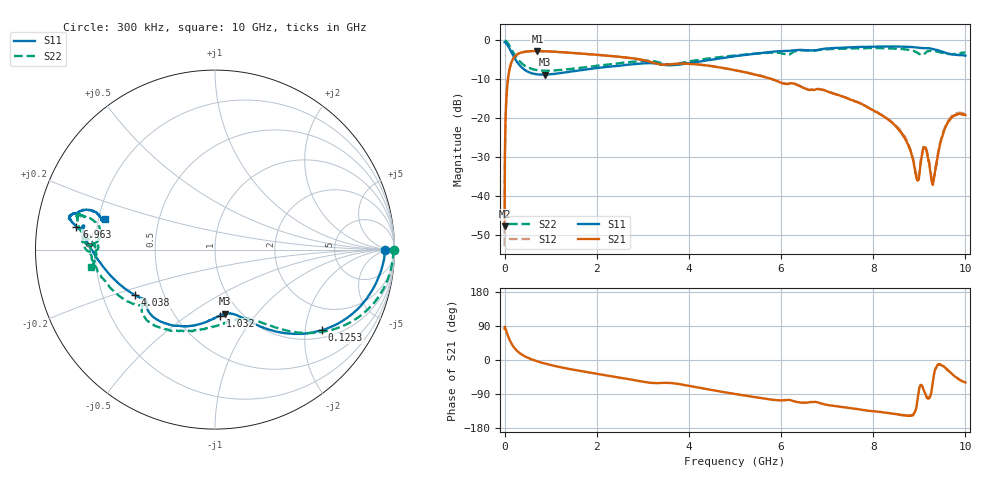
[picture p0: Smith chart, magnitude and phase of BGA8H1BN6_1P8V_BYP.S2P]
!Agilent Technologies,E5071C,MY46316587,B.13.01
!Date: Tue Nov 28 12:35:56 2017
!Data & Calibration Information:
!Freq	S11:SOLT2(ON)	S21:SOLT2(ON)	S12:SOLT2(ON)	S22:SOLT2(ON)
!PortZ  Port1:50+j0  Port2:50+j0
!Above PortZ is port z conversion or system Z0 setting when saving the data.
!When reading, reference impedance value at option line is always used.
# Hz S RI R 50
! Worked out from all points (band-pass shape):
!   1601 points, 300 kHz to 10 GHz, reference 50 ohm
!   highest |S21| = -2.77 dB at 712.8 MHz (marker M1); lowest = -47.7 dB at 300 kHz (marker M2)
!   |S21| within 3 dB of the highest: 145.5 MHz to 3.232 GHz (3.087 GHz wide, 183 % of centre)
!   lowest |S11| = -8.8 dB at 869 MHz (marker M3), VSWR 2.14, Z = 42.6 - j35.1 ohm
!   |S11| at or under -10 dB: nowhere
!   |S22| runs from -7.8 to 0.0 dB; largest |S21 - S12| = 0.0054
!   S11 on the Smith chart (normalised r, x): 300 kHz: 36, -3; 125.3 MHz: 1.21, -2.46; 1.032 GHz: 0.80, -0.68; 4.038 GHz: 0.34, -0.24; 6.963 GHz: 0.12, +0.08; 10 GHz: 0.23, +0.13
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300000  0.9457 -0.00412  0.000564 0.00409  0.00173 0.0015  0.9946 -0.00118
5.654831e7  0.8301 -0.2922  0.0918 0.238  0.0923 0.2397  0.9039 -0.2739
1.252962e8  0.5965 -0.4492  0.3108 0.3554  0.313 0.3552  0.6848 -0.4355
3.315401e8  0.2269 -0.417  0.6531 0.2113  0.6549 0.21  0.3184 -0.427
7.127786e8  0.0831 -0.3557  0.7255 -0.0469  0.7262 -0.0474  0.1539 -0.3844
8.690239e8  0.0551 -0.3578  0.7144 -0.1156  0.7144 -0.1163  0.116 -0.3905
1.031519e9  0.0292 -0.368  0.6938 -0.1754  0.6949 -0.175  0.0805 -0.4007
1.669e9  -0.0672 -0.4096  0.5867 -0.3339  0.5879 -0.3326  -0.0557 -0.4424
2.756467e9  -0.2598 -0.4159  0.3642 -0.4648  0.3647 -0.4614  -0.2963 -0.4386
3.3377e9  -0.3788 -0.3233  0.2409 -0.4324  0.2388 -0.4303  -0.4061 -0.3256
4.037679e9  -0.4454 -0.2543  0.1783 -0.4644  0.1796 -0.4642  -0.4458 -0.3035
5.00015e9  -0.6168 -0.1035  0.00267 -0.4124  0.00254 -0.4133  -0.6092 -0.1776
6.66885e9  -0.7311 0.1261  -0.0831 -0.2166  -0.0833 -0.2179  -0.7313 0.0912
6.962591e9  -0.7725 0.1258  -0.1053 -0.1996  -0.1058 -0.1999  -0.7566 0.1188
8.33755e9  -0.813 0.1781  -0.0728 -0.0611  -0.0741 -0.0615  -0.762 0.1956
8.718788e9  -0.8027 0.1908  -0.0431 -0.0277  -0.0447 -0.0285  -0.7363 0.1896
8.950032e9  -0.7826 0.2041  -0.00629 -0.0154  -0.00716 -0.015  -0.6783 0.1632
9.131276e9  -0.7681 0.2006  0.000338 -0.041  -0.000143 -0.0429  -0.6872 0.028
9.287521e9  -0.743 0.2171  0.00651 -0.0129  0.00656 -0.0144  -0.7323 0.057
9.468766e9  -0.6896 0.2174  0.0503 -0.0119  0.0521 -0.0124  -0.6959 0.0484
9.593762e9  -0.6517 0.1988  0.076 -0.0341  0.0796 -0.0358  -0.6678 0.0156
1e10  -0.6134 0.1683  0.0559 -0.0946  0.0592 -0.0967  -0.6932 -0.0954
